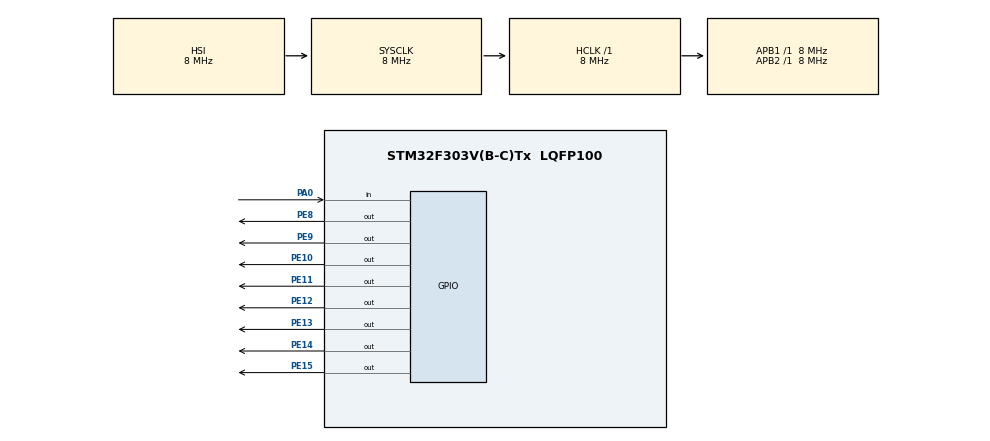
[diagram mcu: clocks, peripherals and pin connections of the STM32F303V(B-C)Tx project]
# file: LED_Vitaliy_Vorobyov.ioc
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Mcu.Family=STM32F3
Mcu.Name=STM32F303V(B-C)Tx
Mcu.Package=LQFP100
NVIC.PriorityGroup=NVIC_PRIORITYGROUP_4
PA0.Signal=GPIO_Input
PE10.Signal=GPIO_Output
PE11.Signal=GPIO_Output
PE12.Signal=GPIO_Output
PE13.Signal=GPIO_Output
PE14.Signal=GPIO_Output
PE15.Signal=GPIO_Output
PE8.Signal=GPIO_Output
PE9.Signal=GPIO_Output
ProjectManager.HeapSize=0x200
ProjectManager.StackSize=0x400
ProjectManager.TargetToolchain=SW4STM32
RCC.AHBFreq_Value=8000000
RCC.APB1Freq_Value=8000000
RCC.APB2Freq_Value=8000000
RCC.CortexFreq_Value=8000000
RCC.HSE_VALUE=8000000
RCC.HSI_VALUE=8000000
RCC.LSE_VALUE=32768
RCC.SYSCLKFreq_VALUE=8000000
board=custom

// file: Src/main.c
/**
  ******************************************************************************
  * @file           : main.c
  * @brief          : Main program body
  ******************************************************************************
  ** This notice applies to any and all portions of this file
  * that are not between comment pairs USER CODE BEGIN and
  * USER CODE END. Other portions of this file, whether
  * inserted by the user or by software development tools
  * are owned by their respective copyright owners.
  *
  * COPYRIGHT(c) 2018 STMicroelectronics
  *
  * Redistribution and use in source and binary forms, with or without modification,
  * are permitted provided that the following conditions are met:
  *   1. Redistributions of source code must retain the above copyright notice,
  *      this list of conditions and the following disclaimer.
  *   2. Redistributions in binary form must reproduce the above copyright notice,
  *      this list of conditions and the following disclaimer in the documentation
  *      and/or other materials provided with the distribution.
  *   3. Neither the name of STMicroelectronics nor the names of its contributors
  *      may be used to endorse or promote products derived from this software
  *      without specific prior written permission.
  *
  * THIS SOFTWARE IS PROVIDED BY THE COPYRIGHT HOLDERS AND CONTRIBUTORS "AS IS"
  * AND ANY EXPRESS OR IMPLIED WARRANTIES, INCLUDING, BUT NOT LIMITED TO, THE
  * IMPLIED WARRANTIES OF MERCHANTABILITY AND FITNESS FOR A PARTICULAR PURPOSE ARE
  * DISCLAIMED. IN NO EVENT SHALL THE COPYRIGHT HOLDER OR CONTRIBUTORS BE LIABLE
  * FOR ANY DIRECT, INDIRECT, INCIDENTAL, SPECIAL, EXEMPLARY, OR CONSEQUENTIAL
  * DAMAGES (INCLUDING, BUT NOT LIMITED TO, PROCUREMENT OF SUBSTITUTE GOODS OR
  * SERVICES; LOSS OF USE, DATA, OR PROFITS; OR BUSINESS INTERRUPTION) HOWEVER
  * CAUSED AND ON ANY THEORY OF LIABILITY, WHETHER IN CONTRACT, STRICT LIABILITY,
  * OR TORT (INCLUDING NEGLIGENCE OR OTHERWISE) ARISING IN ANY WAY OUT OF THE USE
  * OF THIS SOFTWARE, EVEN IF ADVISED OF THE POSSIBILITY OF SUCH DAMAGE.
  *
  ******************************************************************************
  */
#include "main.h"
#include "stm32f3xx_hal.h"
#include "gpio.h"

/* USER CODE BEGIN PV */
/* Private variables ---------------------------------------------------------*/

/* USER CODE END PV */

void SystemClock_Config(void);

/* USER CODE BEGIN PFP */
/* Private function prototypes -----------------------------------------------*/

/* USER CODE END PFP */

int main(void)
{

  /* MCU Configuration----------------------------------------------------------*/

  /* Reset of all peripherals, Initializes the Flash interface and the Systick. */
  HAL_Init();

  /* Configure the system clock */
  SystemClock_Config();

  /* Initialize all configured peripherals */
  MX_GPIO_Init();
  /* USER CODE BEGIN 2 */

  uint16_t GPIO_PINS[] = { GPIO_PIN_8, GPIO_PIN_9, GPIO_PIN_10, GPIO_PIN_11, GPIO_PIN_12, GPIO_PIN_13, GPIO_PIN_14, GPIO_PIN_15};
  int counter = 0;
  int buttonPresses = 0;
  int clockwise = 0;

  /* USER CODE END 2 */

  /* Infinite loop */
  /* USER CODE BEGIN WHILE */
  while (1)
  {
	  if (HAL_GPIO_ReadPin(GPIOA, GPIO_PIN_0)) {
		  HAL_Delay(50);
		  buttonPresses += 1;
	  }

	  if (buttonPresses % 2 == 0) {
		  clockwise = 0;
	  } else {
		  clockwise = 1;
	  }

	  HAL_GPIO_WritePin(GPIOE, GPIO_PINS[counter % 8], GPIO_PIN_SET);
	  HAL_Delay(100);
	  HAL_GPIO_WritePin(GPIOE, GPIO_PINS[counter % 8], GPIO_PIN_RESET);
	  if (clockwise) {
		  counter += 1;
	  } else {
		  if (counter <= 0) {
			  counter = 8;
		  }
		  counter += -1;
	  }

  /* USER CODE END WHILE */

  }

}

void SystemClock_Config(void)
{

  RCC_OscInitTypeDef RCC_OscInitStruct;
  RCC_ClkInitTypeDef RCC_ClkInitStruct;

    /**Initializes the CPU, AHB and APB busses clocks
    */
  RCC_OscInitStruct.OscillatorType = RCC_OSCILLATORTYPE_HSI;
  RCC_OscInitStruct.HSIState = RCC_HSI_ON;
  RCC_OscInitStruct.HSICalibrationValue = 16;
  RCC_OscInitStruct.PLL.PLLState = RCC_PLL_NONE;
  if (HAL_RCC_OscConfig(&RCC_OscInitStruct) != HAL_OK)
  {
    _Error_Handler(__FILE__, __LINE__);
  }

    /**Initializes the CPU, AHB and APB busses clocks
    */
  RCC_ClkInitStruct.ClockType = RCC_CLOCKTYPE_HCLK|RCC_CLOCKTYPE_SYSCLK
                              |RCC_CLOCKTYPE_PCLK1|RCC_CLOCKTYPE_PCLK2;
  RCC_ClkInitStruct.SYSCLKSource = RCC_SYSCLKSOURCE_HSI;
  RCC_ClkInitStruct.AHBCLKDivider = RCC_SYSCLK_DIV1;
  RCC_ClkInitStruct.APB1CLKDivider = RCC_HCLK_DIV1;
  RCC_ClkInitStruct.APB2CLKDivider = RCC_HCLK_DIV1;

  if (HAL_RCC_ClockConfig(&RCC_ClkInitStruct, FLASH_LATENCY_0) != HAL_OK)
  {
    _Error_Handler(__FILE__, __LINE__);
  }

    /**Configure the Systick interrupt time
    */
  HAL_SYSTICK_Config(HAL_RCC_GetHCLKFreq()/1000);

    /**Configure the Systick
    */
  HAL_SYSTICK_CLKSourceConfig(SYSTICK_CLKSOURCE_HCLK);

  /* SysTick_IRQn interrupt configuration */
  HAL_NVIC_SetPriority(SysTick_IRQn, 0, 0);
}

void _Error_Handler(char *file, int line)
{
  while(1)
  {
  }
}

/************************ (C) COPYRIGHT STMicroelectronics *****END OF FILE****/
